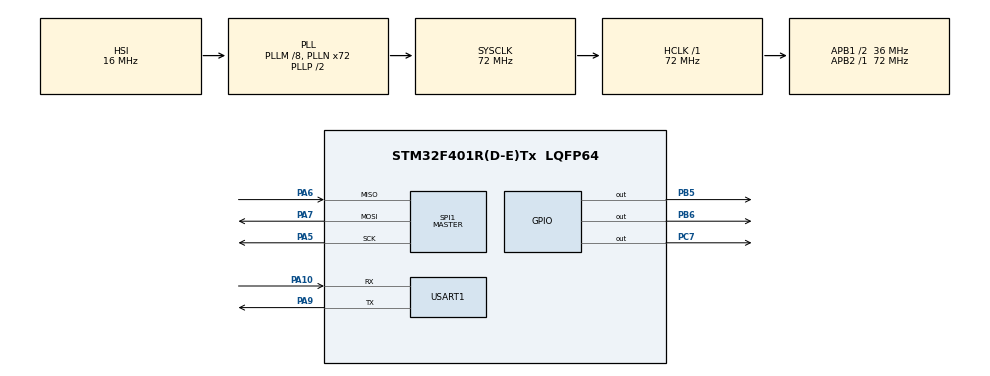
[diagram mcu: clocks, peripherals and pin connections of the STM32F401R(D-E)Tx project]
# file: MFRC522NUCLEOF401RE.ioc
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Mcu.Family=STM32F4
Mcu.Name=STM32F401R(D-E)Tx
Mcu.Package=LQFP64
NVIC.PriorityGroup=NVIC_PRIORITYGROUP_0
PA10.Mode=Asynchronous
PA10.Signal=USART1_RX
PA13.GPIO_Label=TMS
PA13.Mode=Serial_Wire
PA13.Signal=SYS_JTMS-SWDIO
PA14.GPIO_Label=TCK
PA14.Mode=Serial_Wire
PA14.Signal=SYS_JTCK-SWCLK
PA2.GPIO_Label=USART_TX
PA2.GPIO_Mode=GPIO_MODE_AF_PP
PA2.GPIO_PuPd=GPIO_NOPULL
PA2.GPIO_Speed=GPIO_SPEED_FREQ_LOW
PA2.Signal=USART2_TX
PA3.GPIO_Label=USART_RX
PA3.GPIO_Mode=GPIO_MODE_AF_PP
PA3.GPIO_PuPd=GPIO_NOPULL
PA3.GPIO_Speed=GPIO_SPEED_FREQ_LOW
PA3.Signal=USART2_RX
PA5.Mode=Full_Duplex_Master
PA5.Signal=SPI1_SCK
PA6.Mode=Full_Duplex_Master
PA6.Signal=SPI1_MISO
PA7.Mode=Full_Duplex_Master
PA7.Signal=SPI1_MOSI
PA9.Mode=Asynchronous
PA9.Signal=USART1_TX
PB3.GPIO_Label=SWO
PB3.Signal=SYS_JTDO-SWO
PB5.Signal=GPIO_Output
PB6.Signal=GPIO_Output
PC14-OSC32_IN.Signal=RCC_OSC32_IN
PC15-OSC32_OUT.Signal=RCC_OSC32_OUT
PC7.Signal=GPIO_Output
PH0\ -\ OSC_IN.Mode=HSE-External-Oscillator
PH0\ -\ OSC_IN.Signal=RCC_OSC_IN
PH1\ -\ OSC_OUT.Mode=HSE-External-Oscillator
PH1\ -\ OSC_OUT.Signal=RCC_OSC_OUT
ProjectManager.HeapSize=0x200
ProjectManager.StackSize=0x400
ProjectManager.TargetToolchain=STM32CubeIDE
RCC.48MHZClocksFreq_Value=20571428.57142857
RCC.AHBFreq_Value=72000000
RCC.APB1CLKDivider=RCC_HCLK_DIV2
RCC.APB1Freq_Value=36000000
RCC.APB1TimFreq_Value=72000000
RCC.APB2Freq_Value=72000000
RCC.APB2TimFreq_Value=72000000
RCC.CortexFreq_Value=72000000
RCC.HCLKFreq_Value=72000000
RCC.HSE_VALUE=8000000
RCC.HSI_VALUE=16000000
RCC.LSE_VALUE=32768
RCC.PLLM=8
RCC.PLLN=72
RCC.PLLQ=7
RCC.SYSCLKFreq_VALUE=72000000
RCC.SYSCLKSource=RCC_SYSCLKSOURCE_PLLCLK
RCC.VCOOutputFreq_Value=144000000
SPI1.BaudRatePrescaler=SPI_BAUDRATEPRESCALER_8
SPI1.Direction=SPI_DIRECTION_2LINES
SPI1.Mode=SPI_MODE_MASTER
SPI1.VirtualType=VM_MASTER
USART1.VirtualMode=VM_ASYNC
board=NUCLEO-F401RE

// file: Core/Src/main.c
/* USER CODE BEGIN Header */
/**
  ******************************************************************************
  * @file           : main.c
  * @brief          : Main program body
  ******************************************************************************
  * @attention
  *
  * Copyright (c) 2024 STMicroelectronics.
  * All rights reserved.
  *
  * This software is licensed under terms that can be found in the LICENSE file
  * in the root directory of this software component.
  * If no LICENSE file comes with this software, it is provided AS-IS.
  *
  ******************************************************************************
  */
/* USER CODE END Header */
#include "main.h"

/* USER CODE BEGIN Includes */
#include "rc522.h"
#include "string.h"
/* USER CODE END Includes */

SPI_HandleTypeDef hspi1;

UART_HandleTypeDef huart1;

/* USER CODE BEGIN PV */
uint8_t status;
uint8_t str[MAX_LEN]; // Max_LEN = 16
uint8_t sNum[5];
uint8_t sComp[5];

uint8_t key_1[] = {34, 20, 41, 97, 62};
uint8_t key_2[] = {27, 25, 18, 48, 49};
uint8_t key_3[] = {35, 28, 24, 43, 21};

uint8_t transmit[5];

void encrypt(uint8_t *tx_buff, size_t size, uint8_t *destination) {

  for (size_t i = 0; i < size; i++) {
    destination[i] = tx_buff[i] ^ key_1[i];
  }
  for (size_t i = 0; i < size; i++) {
    destination[i] = tx_buff[i] ^ key_2[i];
  }

  for (size_t i = 0; i < size; i++) {
    destination[i] = tx_buff[i] ^ key_3[i];
  }

  for (size_t i = 0; i < size; i++) {
    destination[i] = ~(tx_buff[i]); // NOR operation
  }
}

/* USER CODE END PV */

void SystemClock_Config(void);
static void MX_GPIO_Init(void);
static void MX_SPI1_Init(void);
static void MX_USART1_UART_Init(void);

int main(void)
{

  /* MCU Configuration--------------------------------------------------------*/

  /* Reset of all peripherals, Initializes the Flash interface and the Systick. */
  HAL_Init();

  /* Configure the system clock */
  SystemClock_Config();

  /* Initialize all configured peripherals */
  MX_GPIO_Init();
  MX_SPI1_Init();
  MX_USART1_UART_Init();
  /* USER CODE BEGIN 2 */
  HAL_GPIO_WritePin(GPIOB, GPIO_PIN_5, GPIO_PIN_RESET);
  MFRC522_Init();
  /* USER CODE END 2 */

  /* Infinite loop */
  /* USER CODE BEGIN WHILE */
  while (1)
  {

	  status = MFRC522_Request(PICC_REQIDL, str);
	    status = MFRC522_Anticoll(str);
	    sComp[2] = sNum[2];
	    sComp[3] = sNum[3];
	    sComp[4] = sNum[4];
	    memcpy(sNum, str, 5);

	    if (sComp[2] != sNum[2] || sComp[3] != sNum[3] || sComp[4] != sNum[4]) {
	    HAL_GPIO_WritePin(GPIOB, GPIO_PIN_5, GPIO_PIN_SET);
	    HAL_Delay(1000);
	    HAL_GPIO_WritePin(GPIOB, GPIO_PIN_5, GPIO_PIN_RESET);
	    encrypt(sNum, 5, transmit);
		HAL_UART_Transmit(&huart1, transmit, 5, 1000); //change back to uart1
	    HAL_Delay(1000);
	    }
	    HAL_Delay(100);
    /* USER CODE END WHILE */

  }
}

void SystemClock_Config(void)
{
  RCC_OscInitTypeDef RCC_OscInitStruct = {0};
  RCC_ClkInitTypeDef RCC_ClkInitStruct = {0};

  /** Configure the main internal regulator output voltage
  */
  __HAL_RCC_PWR_CLK_ENABLE();
  __HAL_PWR_VOLTAGESCALING_CONFIG(PWR_REGULATOR_VOLTAGE_SCALE2);

  /** Initializes the RCC Oscillators according to the specified parameters
  * in the RCC_OscInitTypeDef structure.
  */
  RCC_OscInitStruct.OscillatorType = RCC_OSCILLATORTYPE_HSI;
  RCC_OscInitStruct.HSIState = RCC_HSI_ON;
  RCC_OscInitStruct.HSICalibrationValue = RCC_HSICALIBRATION_DEFAULT;
  RCC_OscInitStruct.PLL.PLLState = RCC_PLL_ON;
  RCC_OscInitStruct.PLL.PLLSource = RCC_PLLSOURCE_HSI;
  RCC_OscInitStruct.PLL.PLLM = 8;
  RCC_OscInitStruct.PLL.PLLN = 72;
  RCC_OscInitStruct.PLL.PLLP = RCC_PLLP_DIV2;
  RCC_OscInitStruct.PLL.PLLQ = 7;
  if (HAL_RCC_OscConfig(&RCC_OscInitStruct) != HAL_OK)
  {
    Error_Handler();
  }

  /** Initializes the CPU, AHB and APB buses clocks
  */
  RCC_ClkInitStruct.ClockType = RCC_CLOCKTYPE_HCLK|RCC_CLOCKTYPE_SYSCLK
                              |RCC_CLOCKTYPE_PCLK1|RCC_CLOCKTYPE_PCLK2;
  RCC_ClkInitStruct.SYSCLKSource = RCC_SYSCLKSOURCE_PLLCLK;
  RCC_ClkInitStruct.AHBCLKDivider = RCC_SYSCLK_DIV1;
  RCC_ClkInitStruct.APB1CLKDivider = RCC_HCLK_DIV2;
  RCC_ClkInitStruct.APB2CLKDivider = RCC_HCLK_DIV1;

  if (HAL_RCC_ClockConfig(&RCC_ClkInitStruct, FLASH_LATENCY_2) != HAL_OK)
  {
    Error_Handler();
  }
}

static void MX_SPI1_Init(void)
{

  /* SPI1 parameter configuration*/
  hspi1.Instance = SPI1;
  hspi1.Init.Mode = SPI_MODE_MASTER;
  hspi1.Init.Direction = SPI_DIRECTION_2LINES;
  hspi1.Init.DataSize = SPI_DATASIZE_8BIT;
  hspi1.Init.CLKPolarity = SPI_POLARITY_LOW;
  hspi1.Init.CLKPhase = SPI_PHASE_1EDGE;
  hspi1.Init.NSS = SPI_NSS_SOFT;
  hspi1.Init.BaudRatePrescaler = SPI_BAUDRATEPRESCALER_8;
  hspi1.Init.FirstBit = SPI_FIRSTBIT_MSB;
  hspi1.Init.TIMode = SPI_TIMODE_DISABLE;
  hspi1.Init.CRCCalculation = SPI_CRCCALCULATION_DISABLE;
  hspi1.Init.CRCPolynomial = 10;
  if (HAL_SPI_Init(&hspi1) != HAL_OK)
  {
    Error_Handler();
  }

}

static void MX_USART1_UART_Init(void)
{

  huart1.Instance = USART1;
  huart1.Init.BaudRate = 115200;
  huart1.Init.WordLength = UART_WORDLENGTH_8B;
  huart1.Init.StopBits = UART_STOPBITS_1;
  huart1.Init.Parity = UART_PARITY_NONE;
  huart1.Init.Mode = UART_MODE_TX_RX;
  huart1.Init.HwFlowCtl = UART_HWCONTROL_NONE;
  huart1.Init.OverSampling = UART_OVERSAMPLING_16;
  if (HAL_UART_Init(&huart1) != HAL_OK)
  {
    Error_Handler();
  }

}

static void MX_GPIO_Init(void)
{
  GPIO_InitTypeDef GPIO_InitStruct = {0};

  /* GPIO Ports Clock Enable */
  __HAL_RCC_GPIOC_CLK_ENABLE();
  __HAL_RCC_GPIOH_CLK_ENABLE();
  __HAL_RCC_GPIOA_CLK_ENABLE();
  __HAL_RCC_GPIOB_CLK_ENABLE();

  /*Configure GPIO pin Output Level */
  HAL_GPIO_WritePin(GPIOC, GPIO_PIN_7, GPIO_PIN_RESET);

  /*Configure GPIO pin Output Level */
  HAL_GPIO_WritePin(GPIOB, GPIO_PIN_5|GPIO_PIN_6, GPIO_PIN_RESET);

  /*Configure GPIO pins : USART_TX_Pin USART_RX_Pin */
  GPIO_InitStruct.Pin = USART_TX_Pin|USART_RX_Pin;
  GPIO_InitStruct.Mode = GPIO_MODE_AF_PP;
  GPIO_InitStruct.Pull = GPIO_NOPULL;
  GPIO_InitStruct.Speed = GPIO_SPEED_FREQ_LOW;
  GPIO_InitStruct.Alternate = GPIO_AF7_USART2;
  HAL_GPIO_Init(GPIOA, &GPIO_InitStruct);

  /*Configure GPIO pin : PC7 */
  GPIO_InitStruct.Pin = GPIO_PIN_7;
  GPIO_InitStruct.Mode = GPIO_MODE_OUTPUT_PP;
  GPIO_InitStruct.Pull = GPIO_NOPULL;
  GPIO_InitStruct.Speed = GPIO_SPEED_FREQ_LOW;
  HAL_GPIO_Init(GPIOC, &GPIO_InitStruct);

  /*Configure GPIO pins : PB5 PB6 */
  GPIO_InitStruct.Pin = GPIO_PIN_5|GPIO_PIN_6;
  GPIO_InitStruct.Mode = GPIO_MODE_OUTPUT_PP;
  GPIO_InitStruct.Pull = GPIO_NOPULL;
  GPIO_InitStruct.Speed = GPIO_SPEED_FREQ_LOW;
  HAL_GPIO_Init(GPIOB, &GPIO_InitStruct);

}

void Error_Handler(void)
{
  __disable_irq();
  while (1)
  {
  }
}
